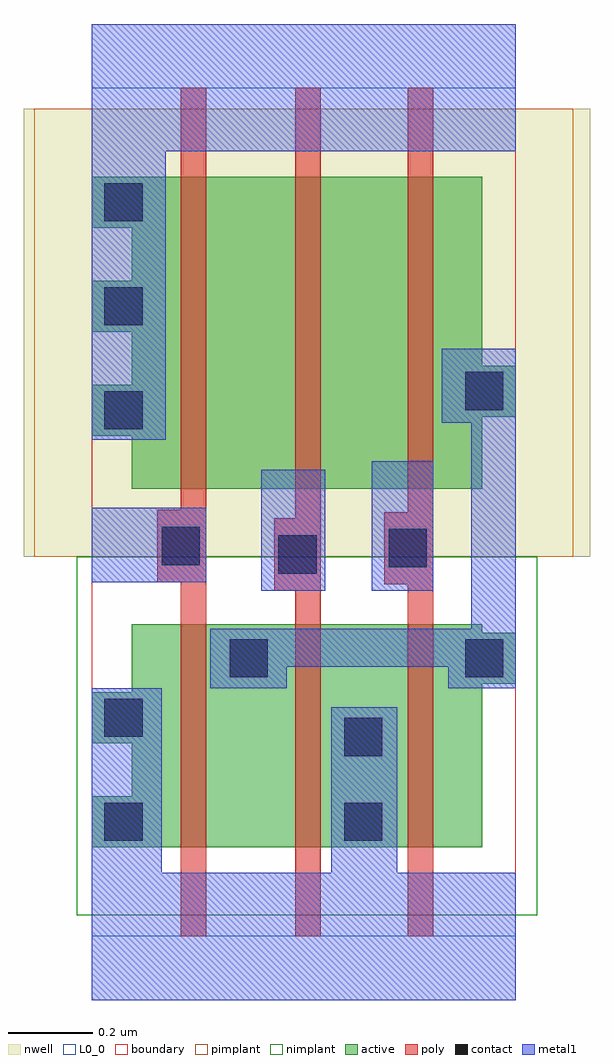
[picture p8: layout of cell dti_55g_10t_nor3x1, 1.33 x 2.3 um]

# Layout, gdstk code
from math import pi, radians
import gdstk
lib = gdstk.Library(unit=1e-6, precision=1e-09)
def R(c, l, rs):  # rectangles x0, y0, x1, y1
    for r in rs: c.add(gdstk.rectangle(r[:2], r[2:], *l))
L0_0 = (0, 0)
nwell = (3, 0)
active = (6, 0)
poly = (17, 0)
pimplant = (25, 0)
nimplant = (26, 0)
contact = (30, 0)
metal1 = (31, 0)
boundary = (108, 0)
L923_0 = (923, 0)

template_55g_10t = lib.new_cell('template_55g_10t')
R(template_55g_10t, metal1, [(0,-0.15,0.2,0.15), (0,1.85,0.2,2.15)])
template_55g_10t.add(gdstk.FlexPath([(0.2,0.21),(0,0.21)], 0, ends="flush", simple_path=True, layer=923, datatype=0))  # L923_0
template_55g_10t.add(gdstk.FlexPath([(0.2,0.735),(0,0.735)], 0, ends="flush", simple_path=True, layer=923, datatype=0))  # L923_0
template_55g_10t.add(gdstk.FlexPath([(0.2,0.895),(0,0.895)], 0, ends="flush", simple_path=True, layer=923, datatype=0))  # L923_0
template_55g_10t.add(gdstk.FlexPath([(0.2,1.055),(0,1.055)], 0, ends="flush", simple_path=True, layer=923, datatype=0))  # L923_0
template_55g_10t.add(gdstk.FlexPath([(0.2,1.79),(0,1.79)], 0, ends="flush", simple_path=True, layer=923, datatype=0))  # L923_0

cellgrid_nom2 = lib.new_cell('cellgrid_noM2')
R(cellgrid_nom2, L0_0, [(0,0,0.2,0.2)])
cellgrid_nom2.add(gdstk.FlexPath([(0.2,0),(0,0.2)], 0, ends="flush", simple_path=True, layer=0, datatype=0))  # L0_0
cellgrid_nom2.add(gdstk.FlexPath([(0.2,0.2),(0,0)], 0, ends="flush", simple_path=True, layer=0, datatype=0))  # L0_0

pmos_735_n_2 = lib.new_cell('pmos_735_n_2')
R(pmos_735_n_2, nwell, [(-0.275,-0.16,0.335,0.895)])
R(pmos_735_n_2, active, [(-0.115,0,0.175,0.735)])
R(pmos_735_n_2, poly, [(0,-0.14,0.06,0.875)])
R(pmos_735_n_2, pimplant, [(-0.245,-0.16,0.305,0.895)])

nmos_525_n_2 = lib.new_cell('nmos_525_n_2')
R(nmos_525_n_2, active, [(-0.115,0,0.175,0.525)])
R(nmos_525_n_2, poly, [(0,-0.14,0.06,0.665)])
R(nmos_525_n_2, nimplant, [(-0.245,-0.16,0.305,0.685)])

cnt_n = lib.new_cell('cnt_n')
R(cnt_n, active, [(-0.06,-0.075,0.06,0.075)])
R(cnt_n, contact, [(-0.045,-0.045,0.045,0.045)])
R(cnt_n, metal1, [(-0.045,-0.045,0.045,0.045)])

cnt = lib.new_cell('cnt')
R(cnt, contact, [(-0.045,-0.045,0.045,0.045)])
R(cnt, metal1, [(-0.045,-0.045,0.045,0.045)])

pcnt_v = lib.new_cell('pcnt_v')
R(pcnt_v, poly, [(-0.055,-0.085,0.055,0.085)])
pcnt_v.add(gdstk.Reference(cnt, (0,0)))

dti_55g_10t_nor3x1 = lib.new_cell('dti_55g_10t_nor3x1')
R(dti_55g_10t_nor3x1, nwell, [(-0.16,0.895,1.175,1.95)])
R(dti_55g_10t_nor3x1, poly, [(0.21,0,0.27,0.07), (0.48,0,0.54,0.07), (0.745,0,0.805,0.07), (0.21,0.875,0.27,0.915), (0.48,0.875,0.54,0.915), (0.745,0.875,0.805,0.915), (0.21,1.93,0.27,2), (0.48,1.93,0.54,2), (0.745,1.93,0.805,2)])
R(dti_55g_10t_nor3x1, pimplant, [(-0.135,0.895,1.135,1.95)])
R(dti_55g_10t_nor3x1, metal1, [(0,0.15,0.165,0.585), (0.565,0.15,0.72,0.54), (0.28,0.585,0.46,0.725), (0.84,0.585,1,0.725), (0.46,0.635,0.84,0.725), (0.895,0.695,1,1.21), (0.4,0.815,0.55,1.1), (0.66,0.815,0.805,1.12), (0,0.835,0.27,1.01), (0,1.17,0.175,1.85), (0.825,1.21,1,1.385)])
R(dti_55g_10t_nor3x1, boundary, [(0,-0.15,1,2.15)])
r = gdstk.Reference(template_55g_10t, (0,0)); r.repetition = gdstk.Repetition(5, 1, v1=(0.2,0), v2=(0,0)); dti_55g_10t_nor3x1.add(r)
r = gdstk.Reference(cellgrid_nom2, (0,0)); r.repetition = gdstk.Repetition(5, 10, v1=(0.2,0), v2=(0,0.2)); dti_55g_10t_nor3x1.add(r)
dti_55g_10t_nor3x1.add(gdstk.Reference(pmos_735_n_2, (0.21,1.055)))
dti_55g_10t_nor3x1.add(gdstk.Reference(pmos_735_n_2, (0.48,1.055)))
dti_55g_10t_nor3x1.add(gdstk.Reference(pmos_735_n_2, (0.745,1.055)))
dti_55g_10t_nor3x1.add(gdstk.Reference(nmos_525_n_2, (0.21,0.21)))
dti_55g_10t_nor3x1.add(gdstk.Reference(nmos_525_n_2, (0.48,0.21)))
dti_55g_10t_nor3x1.add(gdstk.Reference(nmos_525_n_2, (0.745,0.21)))
dti_55g_10t_nor3x1.add(gdstk.Reference(cnt_n, (0.075,1.73), rotation=pi/2))
dti_55g_10t_nor3x1.add(gdstk.Reference(cnt_n, (0.075,1.485), rotation=pi/2))
dti_55g_10t_nor3x1.add(gdstk.Reference(cnt_n, (0.075,1.24), rotation=pi/2))
dti_55g_10t_nor3x1.add(gdstk.Reference(cnt_n, (0.075,0.27), rotation=pi/2))
dti_55g_10t_nor3x1.add(gdstk.Reference(cnt_n, (0.075,0.515), rotation=pi/2))
dti_55g_10t_nor3x1.add(gdstk.Reference(cnt_n, (0.64,0.27), rotation=3*pi/2))
dti_55g_10t_nor3x1.add(gdstk.Reference(cnt_n, (0.64,0.47), rotation=3*pi/2))
dti_55g_10t_nor3x1.add(gdstk.Reference(cnt_n, (0.925,1.285), rotation=3*pi/2))
dti_55g_10t_nor3x1.add(gdstk.Reference(cnt_n, (0.925,0.655), rotation=3*pi/2))
dti_55g_10t_nor3x1.add(gdstk.Reference(cnt_n, (0.37,0.655), rotation=3*pi/2))
dti_55g_10t_nor3x1.add(gdstk.Reference(pcnt_v, (0.21,0.92), rotation=pi))
dti_55g_10t_nor3x1.add(gdstk.Reference(pcnt_v, (0.485,0.9), rotation=pi))
dti_55g_10t_nor3x1.add(gdstk.Reference(pcnt_v, (0.745,0.915)))

lib.write_gds('dti_55g_10t_nor3x1.gds')
